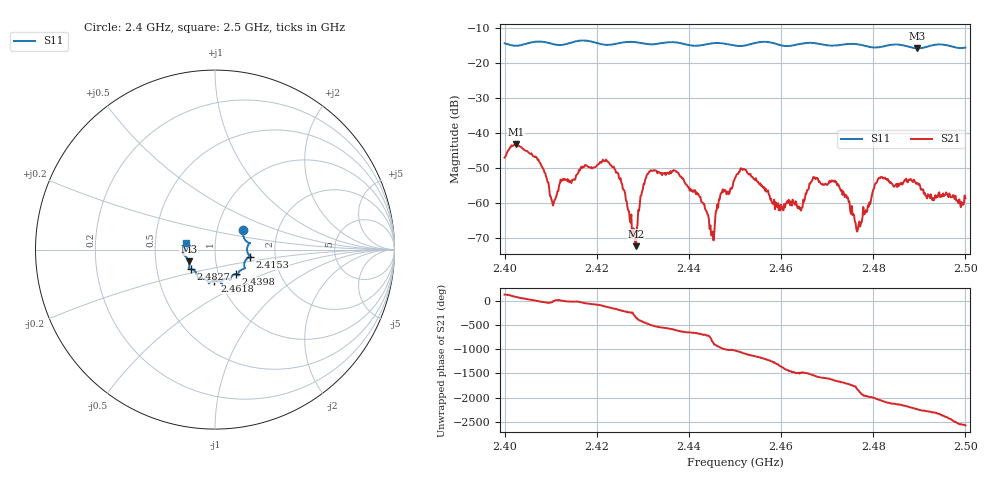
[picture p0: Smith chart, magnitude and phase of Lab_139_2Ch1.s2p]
# Hz S RI R 50
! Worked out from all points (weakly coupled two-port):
!   601 points, 2.4 GHz to 2.5 GHz, reference 50 ohm
!   highest |S21| = -43.26 dB at 2.4025 GHz (marker M1); lowest = -72.2 dB at 2.4285 GHz (marker M2)
!   lowest |S11| = -15.9 dB at 2.4895 GHz (marker M3), VSWR 1.38, Z = 37 - j5.01 ohm
!   |S11| at or under -10 dB: start of sweep to end of sweep
!   S12 and S22 are empty: the file has one direction only
!   S11 on the Smith chart (normalised r, x): 2.4 GHz: 1.33, +0.29; 2.4153 GHz: 1.48, -0.12; 2.4398 GHz: 1.21, -0.34; 2.4618 GHz: 0.94, -0.33; 2.4827 GHz: 0.75, -0.17; 2.5 GHz: 0.72, +0.06
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2.4e9  0.1556 0.1067  -0.00247 0.00372  0 0  0 0
2.4025e9  0.161 0.066  0.0021 0.00654  0 0  0 0
2.407333e9  0.1961 0.0376  0.00408 -0.000937  0 0  0 0
2.4105e9  0.1824 0.0207  0.000887 -0.000261  0 0  0 0
2.415333e9  0.1963 -0.0395  0.00203 -0.000845  0 0  0 0
2.416667e9  0.202 -0.0432  0.00267 -0.00195  0 0  0 0
2.4235e9  0.1624 -0.0823  -0.00304 -0.0011  0 0  0 0
2.4285e9  0.1649 -0.1047  0.000243 2.26e-05  0 0  0 0
2.430667e9  0.1462 -0.1134  -0.000649 -0.00218  0 0  0 0
2.433333e9  0.1299 -0.1336  -0.00278 0.000216  0 0  0 0
2.439833e9  0.1157 -0.1361  0.000736 0.00152  0 0  0 0
2.445e9  0.084 -0.1685  -0.00017 -0.000303  0 0  0 0
2.447e9  0.0842 -0.1695  -0.000244 0.00138  0 0  0 0
2.45e9  0.0654 -0.1622  0.00149 0.00174  0 0  0 0
2.461833e9  -0.00349 -0.1729  0.00107 -0.000197  0 0  0 0
2.466667e9  -0.0347 -0.1879  -4.93e-05 -0.00205  0 0  0 0
2.472e9  -0.0704 -0.1611  -0.00156 0.00125  0 0  0 0
2.476833e9  -0.0963 -0.1539  0.000245 -0.00043  0 0  0 0
2.482667e9  -0.1348 -0.1085  0.00096 0.00198  0 0  0 0
2.483333e9  -0.14 -0.1082  0.0013 0.00157  0 0  0 0
2.4895e9  -0.1458 -0.066  0.000415 -0.00189  0 0  0 0
2.5e9  -0.1595 0.0385  0.000648 -0.000982  0 0  0 0
